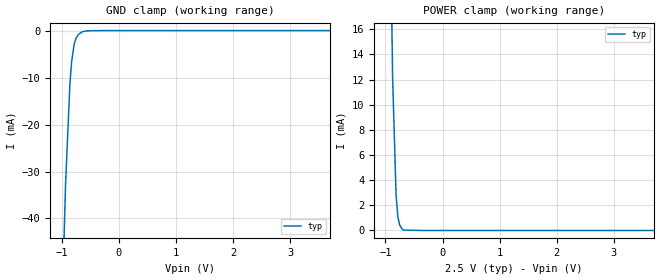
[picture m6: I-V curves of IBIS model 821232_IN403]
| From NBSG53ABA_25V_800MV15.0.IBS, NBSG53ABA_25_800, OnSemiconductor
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| COPYRIGHT(C) MENTOR GRAPHICS CORPORATION 2002 ALL
| RIGHTS RESERVED. THIS WORK CONTAINS PROPRIETARY
| INFORMATION WHICH IS THE PROPERTY OF MENTOR GRAPHICS
| CORPORATION OR ITS LICENSORS. USE OF THESE MATERIALS
| IS SUBJECT TO THE TERMS BELOW.
| USE: YOU MAY USE IBIS MODELS SOLELY FOR DEVELOPING
| PRINTED CIRCUIT BOARD DESIGNS. NO OTHER USE OR
| DISTRIBUTION OF THESE MATERIALS IS PERMITTED.
| Model Application Version 1.89 2/18/99.
[Model] 821232_IN403
Model_type Input
Vinl = 200.0mV
Vinh = 1.200V
C_comp 1.000pF NA NA
| variable typ   min   max
[Voltage Range] 2.500V NA NA
[GND Clamp Reference] 0.000V NA NA
[POWER Clamp Reference] 2.500V NA NA
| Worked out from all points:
|   GND clamp passes 1 mA (typ) near -0.72 V on its own axis
|   POWER clamp passes 1 mA (typ) near -0.78 V on its own axis
[GND Clamp]
-2.5V     -715.8mA   NA         NA
-932.3mV  -32.76mA   NA         NA
-856.5mV  -11.4mA    NA         NA
-826.4mV  -6.627mA   NA         NA
-780.7mV  -2.779mA   NA         NA
-749.9mV  -1.585mA   NA         NA
-704.7mV  -719.3uA   NA         NA
-643.6mV  -206.6uA   NA         NA
-572.6mV  19.35uA    NA         NA
-286.3mV  79.53uA    NA         NA
5V        79.53uA    NA         NA
[POWER Clamp]
-2.5V     560.1mA    NA         NA
-874.9mV  12.23mA    NA         NA
-813.9mV  2.823mA    NA         NA
-783.5mV  1.115mA    NA         NA
-753.1mV  461.4uA    NA         NA
-707.5mV  101.5uA    NA         NA
-681.9mV  27.42uA    NA         NA
-340.9mV  0A         NA         NA
5V        0A         NA         NA
